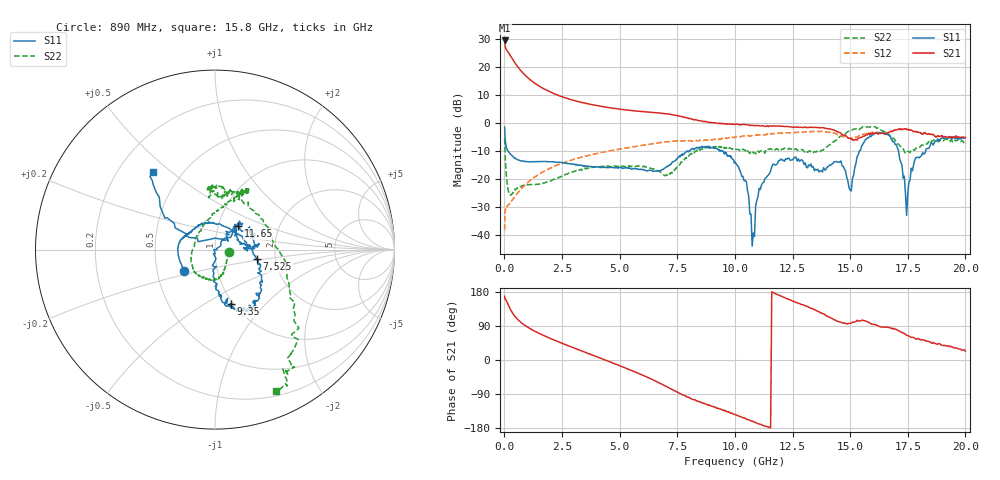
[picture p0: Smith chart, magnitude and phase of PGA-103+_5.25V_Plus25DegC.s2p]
!Mini-Circuits Laboratory
!S-Parameters, Port extension performed
!Model: PGA-103+
!Run / Lot / Date Code: N/A / BP170-001-01-101EV / 1210
!Fixture: TB-313
!Network Analyzer: PNA-X N5242A - 423 4 ports;  Serial number: 71013
!Date: 5/24/2012 at 5:16:12 PM
!S/N: Unit# 1
!Tested with: Vdd=5.25V at 25C
# Hz  S  dB  R  50
!Frequency  S11 dB  S11 Deg  S21 dB  S21 Deg  S12 dB  S12 Deg  S22 dB  S22 Deg
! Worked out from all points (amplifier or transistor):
!   660 points, 10 MHz to 20 GHz, reference 50 ohm
!   highest |S21| = 29.4 dB at 10 MHz (marker M1)
!   |S21| within 3 dB of that: start of sweep to 68.1 MHz
!   unconditionally stable (mu >= 1): 112.1 MHz to 15.05 GHz; 16.84 GHz to end of sweep
!   at 1.275 GHz: K = 1.11, MAG = 14.9 dB, |S12| = -19.4 dB
!   at 6.775 GHz: K = 1.03, MAG = 4.2 dB, |S12| = -6.9 dB
!   at 20 GHz: K = 1.27, MAG = -3.1 dB, |S12| = -5.3 dB
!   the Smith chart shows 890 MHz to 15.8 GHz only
!   S11 on the Smith chart (normalised r, x): 890 MHz: 0.69, -0.17; 7.525 GHz: 1.60, -0.18; 9.35 GHz: 0.97, -0.65; 11.65 GHz: 1.25, +0.34; 15.8 GHz: 0.35, +0.43
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1e7  -1.41 -21.8  29.44 168.1  -37.95 52.2  -5.56 -28.0
5e7  -6.93 -40.2  26.84 160.2  -30.88 28.9  -14.02 -60.2
8e7  -8.49 -43.0  26.26 157.4  -30.02 23.0  -18.02 -59.6
2.1e8  -10.49 -65.8  24.66 139.8  -28.86 29.5  -24.99 -29.6
3.6e8  -11.83 -91.8  22.69 123.3  -27.19 38.9  -24.88 -4.3
5.8e8  -13.05 -119.8  20.07 106.9  -24.85 47.1  -23.10 1.0
8.9e8  -13.65 -145.1  17.14 91.4  -22.08 50.8  -22.03 -7.8
1.25e9  -13.74 -164.2  14.61 78.3  -19.60 50.6  -21.85 -20.7
1.8e9  -13.63 178.5  11.84 62.1  -16.80 46.0  -21.10 -40.1
3.35e9  -15.19 149.5  7.33 23.9  -12.15 23.3  -16.85 -76.6
6.675e9  -16.98 57.2  3.63 -59.2  -7.04 -46.1  -17.01 -161.6
7.525e9  -12.36 -12.8  2.62 -85.2  -6.31 -70.4  -15.40 102.8
9.35e9  -10.05 -74.0  -0.13 -129.0  -5.64 -115.2  -8.51 61.6
1.005e10  -14.40 -86.6  -0.31 -144.7  -4.78 -132.2  -9.26 70.0
1.08e10  -39.12 -9.1  -0.76 -162.7  -4.35 -151.6  -10.58 83.6
1.165e10  -14.65 45.2  -0.94 178.8  -3.65 -171.3  -9.13 96.1
1.335e10  -15.69 11.5  -1.53 136.2  -3.04 144.2  -10.30 44.7
1.5e10  -23.87 92.0  -5.53 96.7  -5.32 108.3  -2.87 -54.0
1.58e10  -5.19 128.6  -3.58 99.0  -3.21 100.1  -1.32 -66.8
1.67e10  -4.44 90.4  -3.25 86.1  -3.22 86.2  -4.11 -70.2
1.745e10  -32.84 110.7  -2.25 65.4  -2.28 65.4  -10.27 -18.6
2e10  -5.10 161.1  -5.27 23.0  -5.34 22.8  -6.67 27.2
